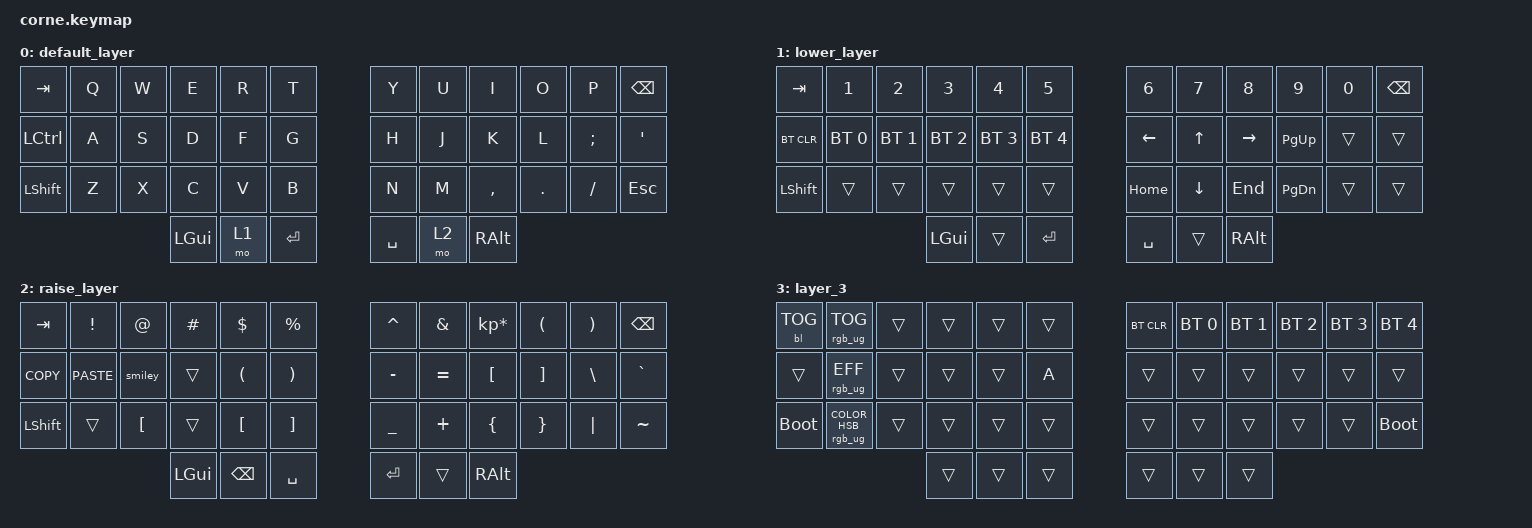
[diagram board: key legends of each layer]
/*
 * Copyright (c) 2020 The ZMK Contributors
 *
 * SPDX-License-Identifier: MIT
 */

#include <behaviors.dtsi>
#include <dt-bindings/zmk/backlight.h>
#include <dt-bindings/zmk/bt.h>
#include <dt-bindings/zmk/keys.h>
#include <dt-bindings/zmk/rgb.h>

/ {
    combos {
        compatible = "zmk,combos";

        activate-layer-3 {
            bindings = <&mo 3>;
            key-positions = <37 40>;
        };
    };

    macros {
        //  Copy: Copy {
        //      compatible = "zmk,behavior-macro";
        //      #binding-cells = <0>;
        //      bindings = <&kp LCTRL &kp C>;
        //      label = "COPY";
        //  };

        Copy: Copy {
            compatible = "zmk,behavior-macro";
            #binding-cells = <0>;
            bindings =
                <&macro_press>,
                <&kp LCTRL>,
                <&macro_tap>,
                <&kp C>,
                <&macro_release>,
                <&kp LCTRL>;

            label = "COPY";
        };

        smiley: smiley {
            compatible = "zmk,behavior-macro";
            #binding-cells = <0>;
            bindings = <&kp LEFT_SHIFT &kp COLON &kp N0>;
            label = "SMILEY";
        };

        paste: paste {
            compatible = "zmk,behavior-macro";
            #binding-cells = <0>;
            bindings =
                <&macro_press>,
                <&kp LCTRL>,
                <&macro_tap>,
                <&kp V>,
                <&macro_release>,
                <&kp LCTRL>;

            label = "PASTE";
        };
    };

    keymap {
        compatible = "zmk,keymap";

        default_layer {
            // -----------------------------------------------------------------------------------------
            // |  TAB |  Q  |  W  |  E  |  R  |  T  |   |  Y  |  U   |  I  |  O  |  P  | BKSP |
            // | CTRL |  A  |  S  |  D  |  F  |  G  |   |  H  |  J   |  K  |  L  |  ;  |  '   |
            // | SHFT |  Z  |  X  |  C  |  V  |  B  |   |  N  |  M   |  ,  |  .  |  /  | ESC  |
            //                    | GUI | LWR | ENT |   | SPC | RSE  | ALT | 

            bindings = <
&kp TAB    &kp Q  &kp W  &kp E     &kp R  &kp T      &kp Y      &kp U  &kp I      &kp O    &kp P     &kp BSPC
&kp LCTRL  &kp A  &kp S  &kp D     &kp F  &kp G      &kp H      &kp J  &kp K      &kp L    &kp SEMI  &kp SQT
&kp LSHFT  &kp Z  &kp X  &kp C     &kp V  &kp B      &kp N      &kp M  &kp COMMA  &kp DOT  &kp FSLH  &kp ESC
                         &kp LGUI  &mo 1  &kp RET    &kp SPACE  &mo 2  &kp RALT
            >;
        };

        lower_layer {
            // -----------------------------------------------------------------------------------------
            // |  TAB |  1  |  2  |  3  |  4  |  5  |   |  6  |  7  |  8  |  9  |  0  | BKSP |
            // | BTCLR| BT1 | BT2 | BT3 | BT4 | BT5 |   | LFT | DWN |  UP | RGT |     |      |
            // | SHFT |     |     |     |     |     |   |     |     |     |     |     |      |
            //                    | GUI |     | SPC |   | ENT |     | ALT |

            bindings = <
&kp TAB     &kp N1        &kp N2        &kp N3        &kp N4        &kp N5          &kp N6     &kp N7        &kp N8     &kp N9         &kp N0  &kp BSPC
&bt BT_CLR  &bt BT_SEL 0  &bt BT_SEL 1  &bt BT_SEL 2  &bt BT_SEL 3  &bt BT_SEL 4    &kp LEFT   &kp UP_ARROW  &kp RIGHT  &kp PAGE_UP    &trans  &trans
&kp LSHFT   &trans        &trans        &trans        &trans        &trans          &kp HOME   &kp DOWN      &kp END    &kp PAGE_DOWN  &trans  &trans
                                        &kp LGUI      &trans        &kp RET         &kp SPACE  &trans        &kp RALT
            >;
        };

        raise_layer {
            // -----------------------------------------------------------------------------------------
            // |  TAB |  !  |  @  |  #  |  $  |  %  |   |  ^  |  &  |  *  |  (  |  )  | BKSP |
            // | CTRL |     |     |     |     |     |   |  -  |  =  |  [  |  ]  |  \  |  `   |
            // | SHFT |     |     |     |     |     |   |  _  |  +  |  {  |  }  | "|" |  ~   |
            //                    | GUI |     | SPC |   | ENT |     | ALT |

            bindings = <
&kp TAB     &kp EXCL     &kp AT    &kp HASH  &kp DLLR       &kp PRCNT    &kp CARET  &kp AMPS   &kp KP_MULTIPLY  &kp LPAR  &kp RPAR  &kp BSPC
&kp K_COPY  &kp K_PASTE  &smiley   &trans    &kp LPAR       &kp RPAR     &kp MINUS  &kp EQUAL  &kp LBKT         &kp RBKT  &kp BSLH  &kp GRAVE
&kp LSHFT   &trans       &kp LBKT  &trans    &kp LBKT       &kp RBKT     &kp UNDER  &kp PLUS   &kp LBRC         &kp RBRC  &kp PIPE  &kp TILDE
                                   &kp LGUI  &kp BACKSPACE  &kp SPACE    &kp RET    &trans     &kp RALT
            >;
        };

        layer_3 {
            bindings = <
&bl BL_TOG   &rgb_ug RGB_TOG                   &trans  &trans  &trans  &trans    &bt BT_CLR  &bt BT_SEL 0  &bt BT_SEL 1  &bt BT_SEL 2  &bt BT_SEL 3  &bt BT_SEL 4
&trans       &rgb_ug RGB_EFF                   &trans  &trans  &trans  &kp A     &trans      &trans        &trans        &trans        &trans        &trans
&bootloader  &rgb_ug RGB_COLOR_HSB(200,91,48)  &trans  &trans  &trans  &trans    &trans      &trans        &trans        &trans        &trans        &bootloader
                                                       &trans  &trans  &trans    &trans      &trans        &trans
            >;
        };
    };
};
